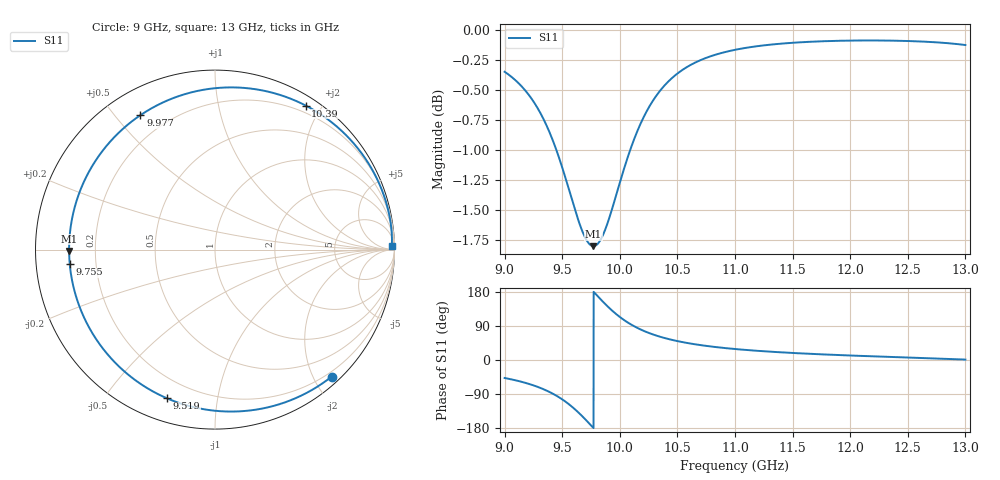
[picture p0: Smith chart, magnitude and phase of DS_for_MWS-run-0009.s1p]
! TOUCHSTONE file generated by CST DESIGN STUDIO
! Date and time: Tue Feb  4 17:36:32 2025
! Project name: C:\Work\MatlabApps\UnitCellOptimizationMatlab\CST\unitcell.cst
! Tree item: Tasks\Sweep1\SPara1\S-Parameters
! Header version: 2024
! Port assignment regex: !\s*Touchstone port\s*([0-9]+)\s*=\s*(CST MWS port|CST DES external port|CST DES block port)\s*(.+)\s* \(\"(.*)\"\)(\s*mode\s*([0-9]+))?.*
! Touchstone port assignment:
! Touchstone port 1 = CST DES external port 1 ("")
# GHz S MA R 50
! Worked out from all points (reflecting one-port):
!   4001 points, 9 GHz to 13 GHz, reference 50 ohm
!   lowest |S11| = -1.8 dB at 9.771 GHz (marker M1), VSWR 9.69, Z = 5.16 - j0.23 ohm
!   phase of S11 starts at -47 deg and turns -311 deg over the sweep
!   S11 on the Smith chart (normalised r, x): 9 GHz: 0.12, -2.27; 9.519 GHz: 0.11, -0.72; 9.755 GHz: 0.10, -0.05; 9.977 GHz: 0.10, +0.58; 10.39 GHz: 0.11, +1.81; 13 GHz: 48, +65
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9  0.9607 -47.4
9.141  0.9481 -57.0
9.27  0.9306 -69.0
9.336  0.9185 -76.9
9.401  0.9039 -86.1
9.5  0.8766 -103.8
9.519  0.8708 -107.8
9.577  0.8524 -121.3
9.632  0.8357 -136.0
9.697  0.8201 -155.5
9.755  0.8133 -174.2
9.771  0.813 -179.5
9.815  0.8155 166.1
9.861  0.8232 151.5
9.92  0.8386 134.0
9.977  0.8564 119.1
10  0.8638 113.6
10.07  0.8856 98.8
10.151  0.9073 84.9
10.266  0.9309 69.8
10.391  0.9485 57.8
10.5  0.959 49.9
10.718  0.9722 38.5
11  0.9811 29.0
11.5  0.9877 18.6
12  0.9898 11.9
12.5  0.9894 6.5
13  0.9856 1.1
